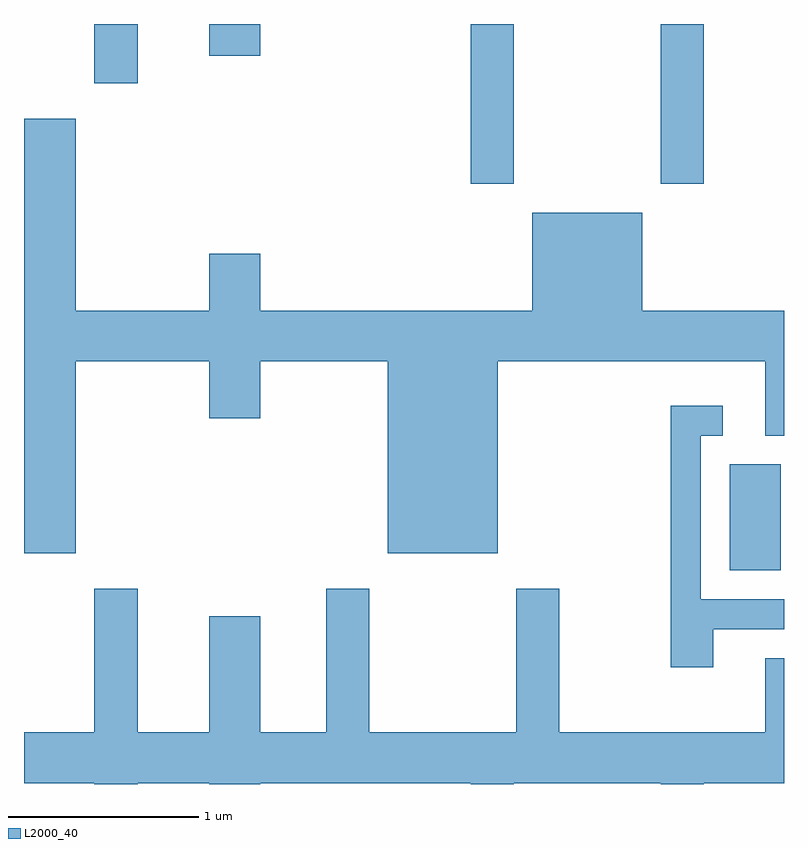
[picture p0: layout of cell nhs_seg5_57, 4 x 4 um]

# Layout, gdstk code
import gdstk
lib = gdstk.Library(unit=1e-6, precision=1e-09)
def R(c, l, rs):  # rectangles x0, y0, x1, y1
    for r in rs: c.add(gdstk.rectangle(r[:2], r[2:], *l))
def P(c, l, *ps):  # polygons
    for p in ps: c.add(gdstk.Polygon(p, *l))
L2000_40 = (2000, 40)

nhs_seg5_57 = lib.new_cell('nhs_seg5_57')
R(nhs_seg5_57, L2000_40, [(189.326,1511.196,189.594,1511.754), (187.961,1513.231,188.189,1514.072), (188.961,1513.231,189.189,1514.072), (185.981,1513.761,186.209,1514.072), (186.586,1513.906,186.854,1514.072)])
P(nhs_seg5_57, L2000_40, [(185.884,1512.296),(186.586,1512.296),(186.586,1511.996),(186.854,1511.996),(186.854,1512.296),(187.526,1512.296),(187.526,1511.286),(188.104,1511.286),(188.104,1512.296),(189.511,1512.296),(189.511,1511.906),(189.611,1511.906),(189.611,1512.564),(188.864,1512.564),(188.864,1513.079),(188.286,1513.079),(188.286,1512.564),(186.854,1512.564),(186.854,1512.864),(186.586,1512.864),(186.586,1512.564),(185.884,1512.564),(185.884,1513.574),(185.611,1513.574),(185.611,1511.286),(185.884,1511.286)],
  [(189.239,1510.886),(189.611,1510.886),(189.611,1511.044),(189.174,1511.044),(189.174,1511.906),(189.288,1511.906),(189.288,1512.064),(189.016,1512.064),(189.016,1510.686),(189.239,1510.686)],
  [(186.209,1510.076),(186.586,1510.076),(186.586,1510.072),(186.854,1510.072),(186.854,1510.076),(187.961,1510.076),(187.961,1510.072),(188.189,1510.072),(188.189,1510.076),(188.961,1510.076),(188.961,1510.072),(189.189,1510.072),(189.189,1510.076),(189.611,1510.076),(189.611,1510.734),(189.511,1510.734),(189.511,1510.344),(188.429,1510.344),(188.429,1511.099),(188.201,1511.099),(188.201,1510.344),(187.429,1510.344),(187.429,1511.099),(187.201,1511.099),(187.201,1510.344),(186.854,1510.344),(186.854,1510.954),(186.586,1510.954),(186.586,1510.344),(186.209,1510.344),(186.209,1511.099),(185.981,1511.099),(185.981,1510.344),(185.611,1510.344),(185.611,1510.076),(185.981,1510.076),(185.981,1510.072),(186.209,1510.072)])

lib.write_gds('nhs_seg5_57.gds')
